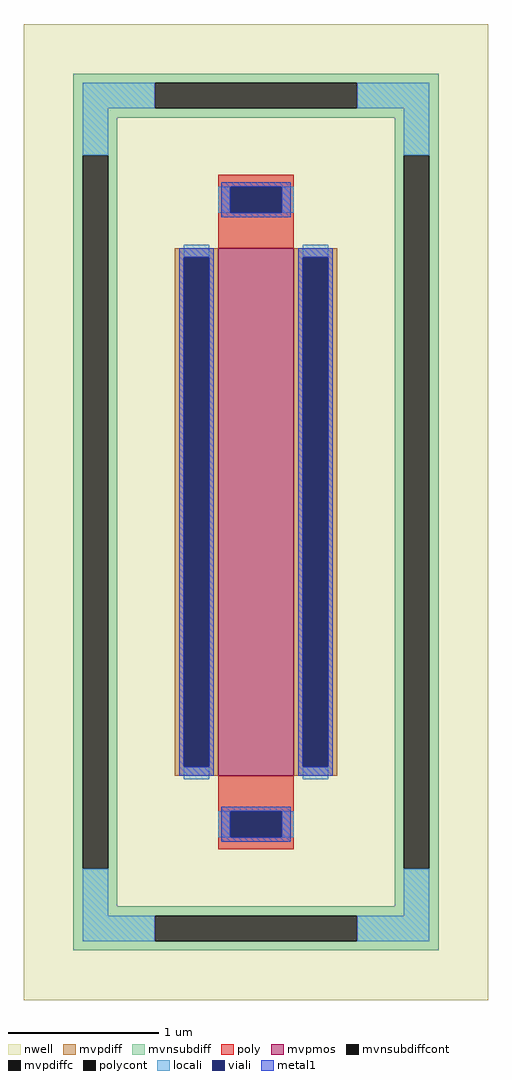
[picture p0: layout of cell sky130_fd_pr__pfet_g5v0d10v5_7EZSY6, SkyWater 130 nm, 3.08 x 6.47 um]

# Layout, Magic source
magic
tech sky130A
magscale 1 2
<< nwell >>
rect -308 -647 308 647
<< mvpmos >>
rect -50 -350 50 350
<< mvpdiff >>
rect -108 338 -50 350
rect -108 -338 -96 338
rect -62 -338 -50 338
rect -108 -350 -50 -338
rect 50 338 108 350
rect 50 -338 62 338
rect 96 -338 108 338
rect 50 -350 108 -338
<< mvpdiffc >>
rect -96 -338 -62 338
rect 62 -338 96 338
<< mvnsubdiff >>
rect -242 569 242 581
rect -242 535 -134 569
rect 134 535 242 569
rect -242 523 242 535
rect -242 473 -184 523
rect -242 -473 -230 473
rect -196 -473 -184 473
rect 184 473 242 523
rect -242 -523 -184 -473
rect 184 -473 196 473
rect 230 -473 242 473
rect 184 -523 242 -473
rect -242 -535 242 -523
rect -242 -569 -134 -535
rect 134 -569 242 -535
rect -242 -581 242 -569
<< mvnsubdiffcont >>
rect -134 535 134 569
rect -230 -473 -196 473
rect 196 -473 230 473
rect -134 -569 134 -535
<< poly >>
rect -50 431 50 447
rect -50 397 -34 431
rect 34 397 50 431
rect -50 350 50 397
rect -50 -397 50 -350
rect -50 -431 -34 -397
rect 34 -431 50 -397
rect -50 -447 50 -431
<< polycont >>
rect -34 397 34 431
rect -34 -431 34 -397
<< locali >>
rect -230 535 -134 569
rect 134 535 230 569
rect -230 473 -196 535
rect 196 473 230 535
rect -50 397 -34 431
rect 34 397 50 431
rect -96 338 -62 354
rect -96 -354 -62 -338
rect 62 338 96 354
rect 62 -354 96 -338
rect -50 -431 -34 -397
rect 34 -431 50 -397
rect -230 -535 -196 -473
rect 196 -535 230 -473
rect -230 -569 -134 -535
rect 134 -569 230 -535
<< viali >>
rect -34 397 34 431
rect -96 -338 -62 338
rect 62 -338 96 338
rect -34 -431 34 -397
<< metal1 >>
rect -46 431 46 437
rect -46 397 -34 431
rect 34 397 46 431
rect -46 391 46 397
rect -102 338 -56 350
rect -102 -338 -96 338
rect -62 -338 -56 338
rect -102 -350 -56 -338
rect 56 338 102 350
rect 56 -338 62 338
rect 96 -338 102 338
rect 56 -350 102 -338
rect -46 -397 46 -391
rect -46 -431 -34 -397
rect 34 -431 46 -397
rect -46 -437 46 -431
<< properties >>
string FIXED_BBOX -213 -552 213 552
string gencell sky130_fd_pr__pfet_g5v0d10v5
string library sky130
string parameters w 3.5 l 0.5 m 1 nf 1 diffcov 100 polycov 100 guard 1 glc 1 grc 1 gtc 1 gbc 1 tbcov 100 rlcov 100 topc 1 botc 1 poverlap 0 doverlap 1 lmin 0.50 wmin 0.42 compatible {sky130_fd_pr__pfet_01v8  sky130_fd_pr__pfet_01v8_lvt sky130_fd_pr__pfet_01v8_hvt  sky130_fd_pr__pfet_g5v0d10v5} full_metal 1 viasrc 100 viadrn 100 viagate 100 viagb 0 viagr 0 viagl 0 viagt 0
<< end >>
